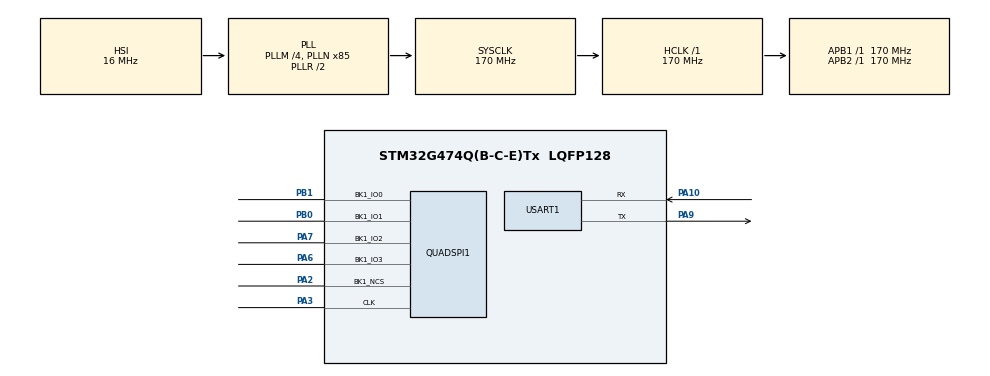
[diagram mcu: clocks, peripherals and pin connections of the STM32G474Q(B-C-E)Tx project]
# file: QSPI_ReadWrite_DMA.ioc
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Dma.QUADSPI.0.Direction=DMA_PERIPH_TO_MEMORY
Dma.QUADSPI.0.EventEnable=DISABLE
Dma.QUADSPI.0.Instance=DMA1_Channel1
Dma.QUADSPI.0.MemDataAlignment=DMA_MDATAALIGN_BYTE
Dma.QUADSPI.0.MemInc=DMA_MINC_ENABLE
Dma.QUADSPI.0.Mode=DMA_NORMAL
Dma.QUADSPI.0.PeriphDataAlignment=DMA_PDATAALIGN_BYTE
Dma.QUADSPI.0.PeriphInc=DMA_PINC_DISABLE
Dma.QUADSPI.0.Polarity=HAL_DMAMUX_REQ_GEN_RISING
Dma.QUADSPI.0.Priority=DMA_PRIORITY_LOW
Dma.QUADSPI.0.RequestNumber=1
Dma.QUADSPI.0.SignalID=NONE
Dma.QUADSPI.0.SyncEnable=DISABLE
Dma.QUADSPI.0.SyncPolarity=HAL_DMAMUX_SYNC_NO_EVENT
Dma.QUADSPI.0.SyncRequestNumber=1
Dma.QUADSPI.0.SyncSignalID=NONE
Dma.Request0=QUADSPI
Dma.Request1=USART1_RX
Dma.Request2=USART1_TX
Dma.USART1_RX.1.Direction=DMA_PERIPH_TO_MEMORY
Dma.USART1_RX.1.EventEnable=DISABLE
Dma.USART1_RX.1.Instance=DMA1_Channel2
Dma.USART1_RX.1.MemDataAlignment=DMA_MDATAALIGN_BYTE
Dma.USART1_RX.1.MemInc=DMA_MINC_ENABLE
Dma.USART1_RX.1.Mode=DMA_NORMAL
Dma.USART1_RX.1.PeriphDataAlignment=DMA_PDATAALIGN_BYTE
Dma.USART1_RX.1.PeriphInc=DMA_PINC_DISABLE
Dma.USART1_RX.1.Polarity=HAL_DMAMUX_REQ_GEN_RISING
Dma.USART1_RX.1.Priority=DMA_PRIORITY_LOW
Dma.USART1_RX.1.RequestNumber=1
Dma.USART1_RX.1.SignalID=NONE
Dma.USART1_RX.1.SyncEnable=DISABLE
Dma.USART1_RX.1.SyncPolarity=HAL_DMAMUX_SYNC_NO_EVENT
Dma.USART1_RX.1.SyncRequestNumber=1
Dma.USART1_RX.1.SyncSignalID=NONE
Dma.USART1_TX.2.Direction=DMA_MEMORY_TO_PERIPH
Dma.USART1_TX.2.EventEnable=DISABLE
Dma.USART1_TX.2.Instance=DMA1_Channel3
Dma.USART1_TX.2.MemDataAlignment=DMA_MDATAALIGN_BYTE
Dma.USART1_TX.2.MemInc=DMA_MINC_ENABLE
Dma.USART1_TX.2.Mode=DMA_NORMAL
Dma.USART1_TX.2.PeriphDataAlignment=DMA_PDATAALIGN_BYTE
Dma.USART1_TX.2.PeriphInc=DMA_PINC_DISABLE
Dma.USART1_TX.2.Polarity=HAL_DMAMUX_REQ_GEN_RISING
Dma.USART1_TX.2.Priority=DMA_PRIORITY_LOW
Dma.USART1_TX.2.RequestNumber=1
Dma.USART1_TX.2.SignalID=NONE
Dma.USART1_TX.2.SyncEnable=DISABLE
Dma.USART1_TX.2.SyncPolarity=HAL_DMAMUX_SYNC_NO_EVENT
Dma.USART1_TX.2.SyncRequestNumber=1
Dma.USART1_TX.2.SyncSignalID=NONE
Mcu.Family=STM32G4
Mcu.Name=STM32G474Q(B-C-E)Tx
Mcu.Package=LQFP128
NVIC.DMA1_Channel1_IRQn=true\:0\:0\:false\:false\:true\:false\:true\:true
NVIC.DMA1_Channel2_IRQn=true\:0\:0\:false\:false\:true\:false\:true\:true
NVIC.DMA1_Channel3_IRQn=true\:0\:0\:false\:false\:true\:false\:true\:true
NVIC.PriorityGroup=NVIC_PRIORITYGROUP_4
NVIC.QUADSPI_IRQn=true\:0\:0\:false\:false\:true\:true\:true\:true
NVIC.USART1_IRQn=true\:0\:0\:false\:false\:true\:true\:true\:true
PA10.Mode=Asynchronous
PA10.Signal=USART1_RX
PA2.GPIO_Speed=GPIO_SPEED_FREQ_VERY_HIGH
PA2.Mode=Single Bank 1
PA2.Signal=QUADSPI1_BK1_NCS
PA3.GPIO_Speed=GPIO_SPEED_FREQ_VERY_HIGH
PA3.Mode=Single Bank 1
PA3.Signal=QUADSPI1_CLK
PA6.GPIO_Speed=GPIO_SPEED_FREQ_VERY_HIGH
PA6.Mode=Single Bank 1
PA6.Signal=QUADSPI1_BK1_IO3
PA7.GPIO_Speed=GPIO_SPEED_FREQ_VERY_HIGH
PA7.Mode=Single Bank 1
PA7.Signal=QUADSPI1_BK1_IO2
PA9.Mode=Asynchronous
PA9.Signal=USART1_TX
PB0.GPIO_Speed=GPIO_SPEED_FREQ_VERY_HIGH
PB0.Mode=Single Bank 1
PB0.Signal=QUADSPI1_BK1_IO1
PB1.GPIO_Speed=GPIO_SPEED_FREQ_VERY_HIGH
PB1.Mode=Single Bank 1
PB1.Signal=QUADSPI1_BK1_IO0
ProjectManager.HeapSize=0x200
ProjectManager.StackSize=0x400
ProjectManager.TargetToolchain=EWARM V8.32
QUADSPI1.ChipSelectHighTime=QSPI_CS_HIGH_TIME_4_CYCLE
QUADSPI1.ClockMode=QSPI_CLOCK_MODE_0
QUADSPI1.ClockPrescaler=1
QUADSPI1.DualFlash=QSPI_DUALFLASH_DISABLE
QUADSPI1.FifoThreshold=4
QUADSPI1.FlashID=QSPI_FLASH_ID_1
QUADSPI1.FlashSize=QSPI_FLASH_SIZE
QUADSPI1.SampleShifting=QSPI_SAMPLE_SHIFTING_NONE
RCC.ADC12Freq_Value=170000000
RCC.ADC345Freq_Value=170000000
RCC.AHBFreq_Value=170000000
RCC.APB1Freq_Value=170000000
RCC.APB1TimFreq_Value=170000000
RCC.APB2Freq_Value=170000000
RCC.APB2TimFreq_Value=170000000
RCC.CortexFreq_Value=170000000
RCC.EXTERNAL_CLOCK_VALUE=12288000
RCC.HCLKFreq_Value=170000000
RCC.HSE_VALUE=24000000
RCC.HSI48_VALUE=48000000
RCC.HSI_VALUE=16000000
RCC.LSE_VALUE=32768
RCC.PLLM=RCC_PLLM_DIV4
RCC.PLLN=85
RCC.SYSCLKFreq_VALUE=170000000
RCC.SYSCLKSource=RCC_SYSCLKSOURCE_PLLCLK
RCC.USBFreq_Value=170000000
RCC.VCOOutputFreq_Value=340000000
USART1.VirtualMode-Asynchronous=VM_ASYNC
VP_SYS_VS_DBSignals.Mode=DisableDeadBatterySignals
board=STM32G474E-EVAL

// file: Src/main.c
/* USER CODE BEGIN Header */
/**
  ******************************************************************************
  * @file    QSPI/QSPI_ReadWrite_DMA/Src/main.c
  * @author  MCD Application Team
  * @brief   This sample code shows how to erase part of the QSPI memory, write
  *          data in DMA mode, read data in DMA mode and compare the result in
  *          a forever loop.
  ******************************************************************************
  * @attention
  *
  * Copyright (c) 2019 STMicroelectronics.
  * All rights reserved.
  *
  * This software is licensed under terms that can be found in the LICENSE file
  * in the root directory of this software component.
  * If no LICENSE file comes with this software, it is provided AS-IS.
  *
  ******************************************************************************
  */
/* USER CODE END Header */
#include "main.h"

QSPI_HandleTypeDef hqspi1;
DMA_HandleTypeDef hdma_quadspi;

UART_HandleTypeDef huart1;
DMA_HandleTypeDef hdma_usart1_rx;
DMA_HandleTypeDef hdma_usart1_tx;

/* USER CODE BEGIN PV */
__IO uint8_t CmdCplt, RxCplt, TxCplt, StatusMatch;

/* Buffer used for transmission */
uint8_t aTxStartMessage[] = "\n\r ****UART-Hyperterminal communication based on DMA****\n\r Enter 10 characters using keyboard :\n\r";
uint8_t aTxEndMessage[] = "\n\r Example Finished\n\r";
uint8_t aTxBuffer[] = " ****QSPI communication based on DMA****  ****QSPI communication based on DMA****  ****QSPI communication based on DMA****  ****QSPI communication based on DMA****  ****QSPI communication based on DMA****  ****QSPI communication based on DMA**** ";

/* Buffer used for reception */
uint8_t UaRxBuffer[BUFFERSIZE];
uint8_t aRxBuffer[BUFFERSIZE];
/* USER CODE END PV */

void SystemClock_Config(void);
static void MX_GPIO_Init(void);
static void MX_DMA_Init(void);
static void MX_QUADSPI1_Init(void);
static void MX_USART1_UART_Init(void);
/* USER CODE BEGIN PFP */
static void QSPI_WriteEnable(QSPI_HandleTypeDef *hqspi);
static void QSPI_AutoPollingMemReady(QSPI_HandleTypeDef *hqspi);
static void QSPI_DummyCyclesCfg(QSPI_HandleTypeDef *hqspi);
/* USER CODE END PFP */

int main(void)
{

  /* USER CODE BEGIN 1 */
  QSPI_CommandTypeDef sCommand;
  uint32_t address = 0;
  uint16_t index;
  __IO uint8_t step = 0;

  /* STM32G4xx HAL library initialization:
       - Configure the Flash prefetch
       - Systick timer is configured by default as source of time base, but user
         can eventually implement his proper time base source (a general purpose
         timer for example or other time source), keeping in mind that Time base
         duration should be kept 1ms since PPP_TIMEOUT_VALUEs are defined and
         handled in milliseconds basis.
       - Set NVIC Group Priority to 4
       - Low Level Initialization
     */
  /* USER CODE END 1 */

  /* MCU Configuration--------------------------------------------------------*/

  /* Reset of all peripherals, Initializes the Flash interface and the Systick. */
  HAL_Init();

  /* Configure the system clock */
  SystemClock_Config();

  /* USER CODE BEGIN SysInit */
  BSP_LED_Init(LED1);
  BSP_LED_Init(LED3);
  /* USER CODE END SysInit */

  /* Initialize all configured peripherals */
  MX_GPIO_Init();
  MX_DMA_Init();
  MX_QUADSPI1_Init();
  MX_USART1_UART_Init();
//   if(HAL_UART_Transmit_DMA(&huart1, (uint8_t*)aTxStartMessage, TXSTARTMESSAGESIZE)!= HAL_OK)
//  {
//    /* Transfer error in transmission process */
//    Error_Handler();
//  }
//
//  /*##-2- Put UART peripheral in reception process ###########################*/
//  /* Any data received will be stored in "aRxBuffer" buffer : the number max of
//     data received is 10 */
//  if (HAL_UART_Receive_DMA(&huart1, (uint8_t *)UaRxBuffer, RXBUFFERSIZE) != HAL_OK)
//  {
//    /* Transfer error in reception process */
//    Error_Handler();
//  }
//
//  /*##-3- Wait for the end of the transfer ###################################*/
//  /*  Before starting a new communication transfer, you need to check the current
//      state of the peripheral; if it's busy you need to wait for the end of current
//      transfer before starting a new one.
//      For simplicity reasons, this example is just waiting till the end of the
//      transfer, but application may perform other tasks while transfer operation
//      is ongoing. */
//  while (HAL_UART_GetState(&huart1) != HAL_UART_STATE_READY)
//  {
//  }
//
//  /*##-4- Send the received Buffer ###########################################*/
//  if (HAL_UART_Transmit_DMA(&huart1, (uint8_t *)UaRxBuffer, RXBUFFERSIZE) != HAL_OK)
//  {
//    /* Transfer error in transmission process */
//    Error_Handler();
//  }
//
//  /*##-5- Wait for the end of the transfer ###################################*/
//  /*  Before starting a new communication transfer, you need to check the current
//      state of the peripheral; if it's busy you need to wait for the end of current
//      transfer before starting a new one.
//      For simplicity reasons, this example is just waiting till the end of the
//      transfer, but application may perform other tasks while transfer operation
//      is ongoing. */
//  while (HAL_UART_GetState(&huart1) != HAL_UART_STATE_READY)
//  {
//  }
//
//  /*##-6- Send the End Message ###############################################*/
//  if(HAL_UART_Transmit_DMA(&huart1, (uint8_t*)aTxEndMessage, TXENDMESSAGESIZE)!= HAL_OK)
//  {
//    /* Transfer error in transmission process */
//    Error_Handler();
//  }
//
//  /*##-7- Wait for the end of the transfer ###################################*/
//  while (HAL_UART_GetState(&huart1) != HAL_UART_STATE_READY)
//  {
//  }

  /* Turn on LED1 if test passes then enter infinite loop */
  BSP_LED_On(LED1);

  /* Infinite loop */
  /* USER CODE BEGIN WHILE */
  sCommand.InstructionMode   = QSPI_INSTRUCTION_1_LINE;
  sCommand.AddressSize       = QSPI_ADDRESS_24_BITS;
  sCommand.AlternateByteMode = QSPI_ALTERNATE_BYTES_NONE;
  sCommand.DdrMode           = QSPI_DDR_MODE_DISABLE;
  sCommand.DdrHoldHalfCycle  = QSPI_DDR_HHC_ANALOG_DELAY;
  sCommand.SIOOMode          = QSPI_SIOO_INST_EVERY_CMD;

  while (1)
  {
    switch(step)
    {
      case 0:
        CmdCplt = 0;

        /* Initialize Reception buffer --------------------------------------- */

        /* Enable write operations ------------------------------------------- */
        QSPI_WriteEnable(&hqspi1);

        /* Erasing Sequence -------------------------------------------------- */
        sCommand.Instruction = MT25QL512ABB_SECTOR_ERASE_64K_CMD;
        sCommand.AddressMode = QSPI_ADDRESS_1_LINE;
        sCommand.Address     = address;
        sCommand.DataMode    = QSPI_DATA_NONE;
        sCommand.DummyCycles = 0;

        if (HAL_QSPI_Command_IT(&hqspi1, &sCommand) != HAL_OK)
        {
          Error_Handler();
        }

        step++;
        break;

      case 1:
        if(CmdCplt != 0)
        {
          CmdCplt = 0;
          StatusMatch = 0;

          /* Configure automatic polling mode to wait for end of erase ------- */
          QSPI_AutoPollingMemReady(&hqspi1);

          step++;
        }
        break;

      case 2:
        if(StatusMatch != 0)
        {
          StatusMatch = 0;
          TxCplt = 0;

          /* Enable write operations ----------------------------------------- */
          QSPI_WriteEnable(&hqspi1);

          /* Writing Sequence ------------------------------------------------ */
          sCommand.Instruction = MT25QL512ABB_EXTENDED_QUAD_INPUT_FAST_PROG_CMD;
          sCommand.AddressMode = QSPI_ADDRESS_4_LINES;
          sCommand.DataMode    = QSPI_DATA_4_LINES;
          sCommand.NbData      = BUFFERSIZE;
        for (index = 0; index < BUFFERSIZE; index++)
        {
          UaRxBuffer[index] = 0;
        }
          if (HAL_UART_Receive_DMA(&huart1, (uint8_t *)UaRxBuffer, BUFFERSIZE) != HAL_OK)
          {
              /* Transfer error in reception process */
             Error_Handler();
          }
          while (HAL_UART_GetState(&huart1) != HAL_UART_STATE_READY)
          {
          }

          if (HAL_QSPI_Command(&hqspi1, &sCommand, HAL_QSPI_TIMEOUT_DEFAULT_VALUE) != HAL_OK)
          {
            Error_Handler();
          }

          if (HAL_QSPI_Transmit_DMA(&hqspi1, UaRxBuffer) != HAL_OK)
          {
            Error_Handler();
          }

          step++;
        }
        break;

      case 3:
        if(TxCplt != 0)
        {
          TxCplt = 0;
          StatusMatch = 0;

          /* Configure automatic polling mode to wait for end of program ----- */
          QSPI_AutoPollingMemReady(&hqspi1);

          step++;
        }
        break;

      case 4:
        if(StatusMatch != 0)
        {
          StatusMatch = 0;
          RxCplt = 0;

          /* Configure Volatile Configuration register (with new dummy cycles) */
          QSPI_DummyCyclesCfg(&hqspi1);

          /* Reading Sequence ------------------------------------------------ */
          sCommand.Instruction = MT25QL512ABB_4IO_FAST_READ_CMD;
          sCommand.DummyCycles = 4;

          if (HAL_QSPI_Command(&hqspi1, &sCommand, HAL_QSPI_TIMEOUT_DEFAULT_VALUE) != HAL_OK)
          {
            Error_Handler();
          }

          if (HAL_QSPI_Receive_DMA(&hqspi1, aRxBuffer) != HAL_OK)
          {
            Error_Handler();
          }
          step++;
        }
        break;

      case 5:
        if (RxCplt != 0)
        {
          RxCplt = 0;

          /* Result comparison ----------------------------------------------- */
          for (index = 0; index < BUFFERSIZE; index++)
          {
            if (aRxBuffer[index] != aTxBuffer[index])
            {
              BSP_LED_On(LED3);

            }
          }
          BSP_LED_Toggle(LED1);

          address += QSPI_PAGE_SIZE;
          if(address >= QSPI_END_ADDR)
          {
            address = 0;
          }
          step = 0;
        }
        break;

      default :
        Error_Handler();
    }
    /* USER CODE END WHILE */

  }
}

void SystemClock_Config(void)
{
  RCC_OscInitTypeDef RCC_OscInitStruct = {0};
  RCC_ClkInitTypeDef RCC_ClkInitStruct = {0};

  /** Configure the main internal regulator output voltage
  */
  HAL_PWREx_ControlVoltageScaling(PWR_REGULATOR_VOLTAGE_SCALE1_BOOST);

  /** Initializes the RCC Oscillators according to the specified parameters
  * in the RCC_OscInitTypeDef structure.
  */
  RCC_OscInitStruct.OscillatorType = RCC_OSCILLATORTYPE_HSI;
  RCC_OscInitStruct.HSIState = RCC_HSI_ON;
  RCC_OscInitStruct.HSICalibrationValue = RCC_HSICALIBRATION_DEFAULT;
  RCC_OscInitStruct.PLL.PLLState = RCC_PLL_ON;
  RCC_OscInitStruct.PLL.PLLSource = RCC_PLLSOURCE_HSI;
  RCC_OscInitStruct.PLL.PLLM = RCC_PLLM_DIV4;
  RCC_OscInitStruct.PLL.PLLN = 85;
  RCC_OscInitStruct.PLL.PLLP = RCC_PLLP_DIV2;
  RCC_OscInitStruct.PLL.PLLQ = RCC_PLLQ_DIV2;
  RCC_OscInitStruct.PLL.PLLR = RCC_PLLR_DIV2;
  if (HAL_RCC_OscConfig(&RCC_OscInitStruct) != HAL_OK)
  {
    Error_Handler();
  }

  /** Initializes the CPU, AHB and APB buses clocks
  */
  RCC_ClkInitStruct.ClockType = RCC_CLOCKTYPE_HCLK|RCC_CLOCKTYPE_SYSCLK
                              |RCC_CLOCKTYPE_PCLK1|RCC_CLOCKTYPE_PCLK2;
  RCC_ClkInitStruct.SYSCLKSource = RCC_SYSCLKSOURCE_PLLCLK;
  RCC_ClkInitStruct.AHBCLKDivider = RCC_SYSCLK_DIV1;
  RCC_ClkInitStruct.APB1CLKDivider = RCC_HCLK_DIV1;
  RCC_ClkInitStruct.APB2CLKDivider = RCC_HCLK_DIV1;

  if (HAL_RCC_ClockConfig(&RCC_ClkInitStruct, FLASH_LATENCY_4) != HAL_OK)
  {
    Error_Handler();
  }
}

static void MX_QUADSPI1_Init(void)
{

  /* QUADSPI1 parameter configuration*/
  hqspi1.Instance = QUADSPI;
  hqspi1.Init.ClockPrescaler = 1;
  hqspi1.Init.FifoThreshold = 4;
  hqspi1.Init.SampleShifting = QSPI_SAMPLE_SHIFTING_NONE;
  hqspi1.Init.FlashSize = QSPI_FLASH_SIZE;
  hqspi1.Init.ChipSelectHighTime = QSPI_CS_HIGH_TIME_4_CYCLE;
  hqspi1.Init.ClockMode = QSPI_CLOCK_MODE_0;
  hqspi1.Init.FlashID = QSPI_FLASH_ID_2;
  hqspi1.Init.DualFlash = QSPI_DUALFLASH_DISABLE;
  if (HAL_QSPI_Init(&hqspi1) != HAL_OK)
  {
    Error_Handler();
  }

}

static void MX_USART1_UART_Init(void)
{

  huart1.Instance = USART1;
  huart1.Init.BaudRate = 115200;
  huart1.Init.WordLength = UART_WORDLENGTH_8B;
  huart1.Init.StopBits = UART_STOPBITS_1;
  huart1.Init.Parity = UART_PARITY_NONE;
  huart1.Init.Mode = UART_MODE_TX_RX;
  huart1.Init.HwFlowCtl = UART_HWCONTROL_NONE;
  huart1.Init.OverSampling = UART_OVERSAMPLING_16;
  huart1.Init.OneBitSampling = UART_ONE_BIT_SAMPLE_DISABLE;
  huart1.Init.ClockPrescaler = UART_PRESCALER_DIV1;
  huart1.AdvancedInit.AdvFeatureInit = UART_ADVFEATURE_NO_INIT;
  if (HAL_UART_Init(&huart1) != HAL_OK)
  {
    Error_Handler();
  }
  if (HAL_UARTEx_SetTxFifoThreshold(&huart1, UART_TXFIFO_THRESHOLD_1_8) != HAL_OK)
  {
    Error_Handler();
  }
  if (HAL_UARTEx_SetRxFifoThreshold(&huart1, UART_RXFIFO_THRESHOLD_1_8) != HAL_OK)
  {
    Error_Handler();
  }
  if (HAL_UARTEx_DisableFifoMode(&huart1) != HAL_OK)
  {
    Error_Handler();
  }

}

static void MX_DMA_Init(void)
{

  /* DMA controller clock enable */
  __HAL_RCC_DMAMUX1_CLK_ENABLE();
  __HAL_RCC_DMA1_CLK_ENABLE();

  /* DMA interrupt init */
  /* DMA1_Channel1_IRQn interrupt configuration */
  HAL_NVIC_SetPriority(DMA1_Channel1_IRQn, 0, 0);
  HAL_NVIC_EnableIRQ(DMA1_Channel1_IRQn);
  /* DMA1_Channel2_IRQn interrupt configuration */
  HAL_NVIC_SetPriority(DMA1_Channel2_IRQn, 0, 0);
  HAL_NVIC_EnableIRQ(DMA1_Channel2_IRQn);
  /* DMA1_Channel3_IRQn interrupt configuration */
  HAL_NVIC_SetPriority(DMA1_Channel3_IRQn, 0, 0);
  HAL_NVIC_EnableIRQ(DMA1_Channel3_IRQn);

}

static void MX_GPIO_Init(void)
{

  /* GPIO Ports Clock Enable */
  __HAL_RCC_GPIOA_CLK_ENABLE();
  __HAL_RCC_GPIOC_CLK_ENABLE();
  __HAL_RCC_GPIOD_CLK_ENABLE();

}

/* USER CODE BEGIN 4 */
/**
  * @brief  Command completed callbacks.
  * @param  hqspi QSPI handle
  * @retval None
  */
void HAL_QSPI_CmdCpltCallback(QSPI_HandleTypeDef *hqspi)
{
  CmdCplt++;
}

/**
  * @brief  Rx Transfer completed callbacks.
  * @param  hqspi QSPI handle
  * @retval None
  */
void HAL_QSPI_RxCpltCallback(QSPI_HandleTypeDef *hqspi)
{
  RxCplt++;
}

/**
  * @brief  Tx Transfer completed callbacks.
  * @param  hqspi QSPI handle
  * @retval None
  */
void HAL_QSPI_TxCpltCallback(QSPI_HandleTypeDef *hqspi)
{
  TxCplt++;
}

/**
  * @brief  Status Match callbacks
  * @param  hqspi QSPI handle
  * @retval None
  */
void HAL_QSPI_StatusMatchCallback(QSPI_HandleTypeDef *hqspi)
{
  StatusMatch++;
}

/**
  * @brief  This function send a Write Enable and wait it is effective.
  * @param  hqspi QSPI handle
  * @retval None
  */
static void QSPI_WriteEnable(QSPI_HandleTypeDef *hqspi)
{
  QSPI_CommandTypeDef     sCommand;
  QSPI_AutoPollingTypeDef sConfig;

  /* Enable write operations ------------------------------------------ */
  sCommand.InstructionMode   = QSPI_INSTRUCTION_1_LINE;
  sCommand.Instruction       = MT25QL512ABB_WRITE_ENABLE_CMD;
  sCommand.AddressMode       = QSPI_ADDRESS_NONE;
  sCommand.AlternateByteMode = QSPI_ALTERNATE_BYTES_NONE;
  sCommand.DataMode          = QSPI_DATA_NONE;
  sCommand.DummyCycles       = 0;
  sCommand.DdrMode           = QSPI_DDR_MODE_DISABLE;
  sCommand.DdrHoldHalfCycle  = QSPI_DDR_HHC_ANALOG_DELAY;
  sCommand.SIOOMode          = QSPI_SIOO_INST_EVERY_CMD;

  if (HAL_QSPI_Command(hqspi, &sCommand, HAL_QSPI_TIMEOUT_DEFAULT_VALUE) != HAL_OK)
  {
    Error_Handler();
  }

  /* Configure automatic polling mode to wait for write enabling ---- */
  sConfig.Match           = 0x02;
  sConfig.Mask            = 0x02;
  sConfig.MatchMode       = QSPI_MATCH_MODE_AND;
  sConfig.StatusBytesSize = 1;
  sConfig.Interval        = 0x10;
  sConfig.AutomaticStop   = QSPI_AUTOMATIC_STOP_ENABLE;

  sCommand.Instruction    = MT25QL512ABB_READ_STATUS_REG_CMD;
  sCommand.DataMode       = QSPI_DATA_1_LINE;

  if (HAL_QSPI_AutoPolling(hqspi, &sCommand, &sConfig, HAL_QSPI_TIMEOUT_DEFAULT_VALUE) != HAL_OK)
  {
    Error_Handler();
  }
}

/**
  * @brief  This function read the SR of the memory and wait the EOP.
  * @param  hqspi QSPI handle
  * @retval None
  */
static void QSPI_AutoPollingMemReady(QSPI_HandleTypeDef *hqspi)
{
  QSPI_CommandTypeDef     sCommand;
  QSPI_AutoPollingTypeDef sConfig;

  /* Configure automatic polling mode to wait for memory ready ------ */
  sCommand.InstructionMode   = QSPI_INSTRUCTION_1_LINE;
  sCommand.Instruction       = MT25QL512ABB_READ_STATUS_REG_CMD;
  sCommand.AddressMode       = QSPI_ADDRESS_NONE;
  sCommand.AlternateByteMode = QSPI_ALTERNATE_BYTES_NONE;
  sCommand.DataMode          = QSPI_DATA_1_LINE;
  sCommand.DummyCycles       = 0;
  sCommand.DdrMode           = QSPI_DDR_MODE_DISABLE;
  sCommand.DdrHoldHalfCycle  = QSPI_DDR_HHC_ANALOG_DELAY;
  sCommand.SIOOMode          = QSPI_SIOO_INST_EVERY_CMD;

  sConfig.Match           = 0x00;
  sConfig.Mask            = 0x01;
  sConfig.MatchMode       = QSPI_MATCH_MODE_AND;
  sConfig.StatusBytesSize = 1;
  sConfig.Interval        = 0x10;
  sConfig.AutomaticStop   = QSPI_AUTOMATIC_STOP_ENABLE;

  if (HAL_QSPI_AutoPolling_IT(hqspi, &sCommand, &sConfig) != HAL_OK)
  {
    Error_Handler();
  }
}

/**
  * @brief  This function configure the dummy cycles on memory side.
  * @param  hqspi QSPI handle
  * @retval None
  */
static void QSPI_DummyCyclesCfg(QSPI_HandleTypeDef *hqspi)
{
  QSPI_CommandTypeDef sCommand;
  uint8_t reg;

  /* Read Volatile Configuration register --------------------------- */
  sCommand.InstructionMode   = QSPI_INSTRUCTION_1_LINE;
  sCommand.Instruction       = MT25QL512ABB_READ_VOL_CFG_REG_CMD;
  sCommand.AddressMode       = QSPI_ADDRESS_NONE;
  sCommand.AlternateByteMode = QSPI_ALTERNATE_BYTES_NONE;
  sCommand.DataMode          = QSPI_DATA_1_LINE;
  sCommand.DummyCycles       = 0;
  sCommand.DdrMode           = QSPI_DDR_MODE_DISABLE;
  sCommand.DdrHoldHalfCycle  = QSPI_DDR_HHC_ANALOG_DELAY;
  sCommand.SIOOMode          = QSPI_SIOO_INST_EVERY_CMD;
  sCommand.NbData            = 1;

  if (HAL_QSPI_Command(hqspi, &sCommand, HAL_QSPI_TIMEOUT_DEFAULT_VALUE) != HAL_OK)
  {
    Error_Handler();
  }

  if (HAL_QSPI_Receive(hqspi, &reg, HAL_QSPI_TIMEOUT_DEFAULT_VALUE) != HAL_OK)
  {
    Error_Handler();
  }

  /* Enable write operations ---------------------------------------- */
  QSPI_WriteEnable(hqspi);

  /* Write Volatile Configuration register (with new dummy cycles) -- */
  sCommand.Instruction = MT25QL512ABB_WRITE_VOL_CFG_REG_CMD;
  MODIFY_REG(reg, 0xF0, (4 << POSITION_VAL(0xF0)));

  if (HAL_QSPI_Command(hqspi, &sCommand, HAL_QSPI_TIMEOUT_DEFAULT_VALUE) != HAL_OK)
  {
    Error_Handler();
  }

  if (HAL_QSPI_Transmit(hqspi, &reg, HAL_QSPI_TIMEOUT_DEFAULT_VALUE) != HAL_OK)
  {
    Error_Handler();
  }
}

/* USER CODE END 4 */

void Error_Handler(void)
{
  /* USER CODE BEGIN Error_Handler_Debug */
  /* User can add his own implementation to report the HAL error return state */
  while(1)
  {
    HAL_Delay(100);
    BSP_LED_Toggle(LED3);
  }
  /* USER CODE END Error_Handler_Debug */
}

void HAL_UART_TxCpltCallback(UART_HandleTypeDef *huart)
{
}

/**
  * @brief  Rx Transfer completed callback
  * @param  huart: UART handle
  * @note   This example shows a simple way to report end of DMA Rx transfer, and
  *         you can add your own implementation.
  * @retval None
  */
void HAL_UART_RxCpltCallback(UART_HandleTypeDef *huart)
{
}

/**
  * @brief  UART error callbacks
  * @param  huart: UART handle
  * @note   This example shows a simple way to report transfer error, and you can
  *         add your own implementation.
  * @retval None
  */
void HAL_UART_ErrorCallback(UART_HandleTypeDef *huart)
{
  /* Turn LED3 off: Transfer error in reception/transmission process */
  BSP_LED_Off(LED3);
}

/* USER CODE END 4 */
